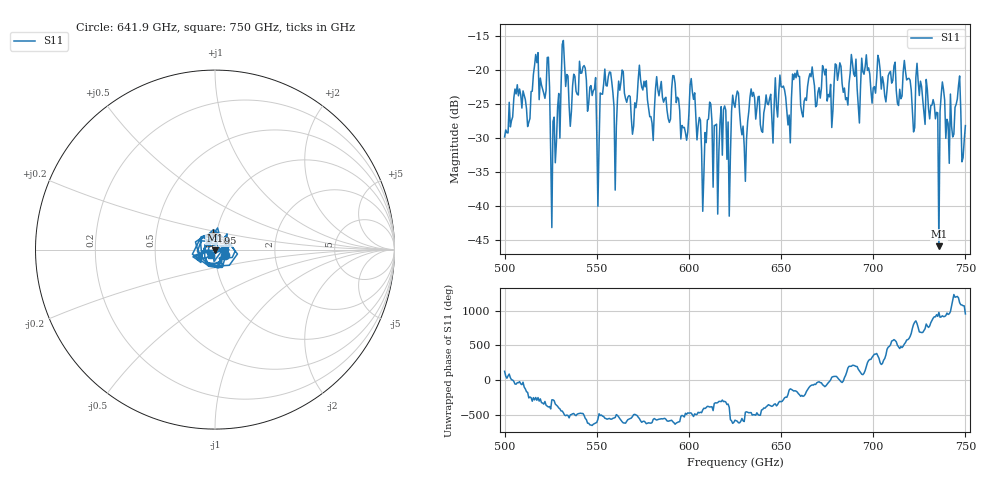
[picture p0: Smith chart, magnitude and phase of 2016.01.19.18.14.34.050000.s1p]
!Created with skrf (http://scikit-rf.org).
# GHz S RI R 50.0
!freq ReS11 ImS11
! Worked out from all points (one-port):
!   401 points, 500 GHz to 750 GHz, reference 50 ohm
!   lowest |S11| = -45.9 dB at 735.6 GHz (marker M1), VSWR 1.01, Z = 49.9 - j0.489 ohm
!   |S11| at or under -10 dB: start of sweep to end of sweep
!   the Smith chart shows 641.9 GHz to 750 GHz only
!   S11 on the Smith chart (normalised r, x): 641.9 GHz: 1.12, -0.07; 695 GHz: 0.96, +0.18; 750 GHz: 0.95, -0.06
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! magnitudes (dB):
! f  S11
! 500 GHz  -29.9
! 513.1 GHz  -27.7
! 516.9 GHz  -17.8
! 523.1 GHz  -18.2
! 526.2 GHz  -27.6
! 531.2 GHz  -16.3
! 543.1 GHz  -19.4
! 551.2 GHz  -31.0
! 553.1 GHz  -23.6
! 560 GHz  -37.7
! 562.5 GHz  -23.0
! 593.8 GHz  -24.1
! 598.1 GHz  -29.3
! 601.9 GHz  -23.3
! 608.1 GHz  -35.3
! 611.2 GHz  -24.8
! 621.9 GHz  -41.5
! 625 GHz  -25.5
! 630 GHz  -31.2
! 634.4 GHz  -23.9
! 641.9 GHz  -23.7
! 656.2 GHz  -20.6
! 687.5 GHz  -20.5
! 695 GHz  -20.7
! 718.8 GHz  -21.3
! 735.6 GHz  -45.9
! 745.6 GHz  -24.3
! 750 GHz  -28.2
